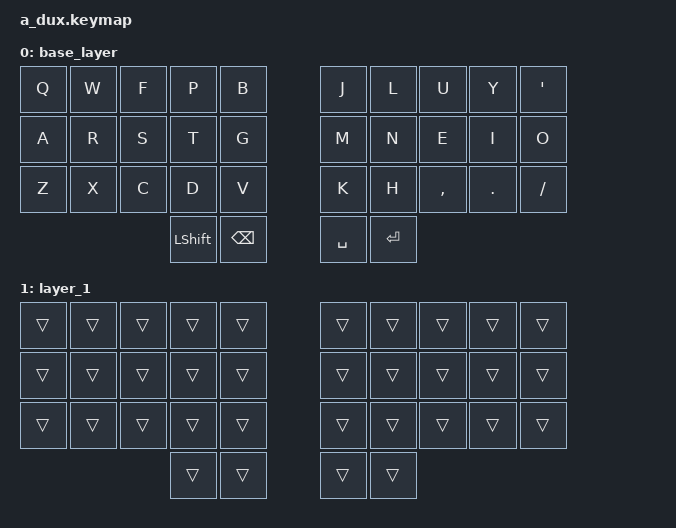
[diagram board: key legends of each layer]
/*
 * Copyright (c) 2021 The ZMK Contributors
 *
 * SPDX-License-Identifier: MIT
 */

#include <behaviors.dtsi>
#include <dt-bindings/zmk/keys.h>

/ {
    combos {
        compatible = "zmk,combos";

        combo_ae {
            bindings = <&trans>;
            key-positions = <10 17>;
            layers = <0>;
        };

        combo_ue {
            bindings = <&trans>;
            key-positions = <17 7>;
        };

        new_combo {
            bindings = <&trans>;
            key-positions = <17 19>;
        };
    };

    keymap {
        compatible = "zmk,keymap";

        // This is a sample keymap intended to be replaced with your own

        base_layer {
            bindings = <
&kp Q  &kp W  &kp F           &kp P          &kp B        &kp J      &kp L      &kp U    &kp Y    &kp SQT
&kp A  &kp R  &kp S           &kp T          &kp G        &kp M      &kp N      &kp E    &kp I      &kp O
&kp Z  &kp X  &kp C           &kp D          &kp V        &kp K      &kp H  &kp COMMA  &kp DOT  &kp SLASH
                     &kp LEFT_SHIFT  &kp BACKSPACE    &kp SPACE  &kp ENTER
            >;
        };

        layer_1 {
            bindings = <
&trans  &trans  &trans  &trans  &trans    &trans  &trans  &trans  &trans  &trans
&trans  &trans  &trans  &trans  &trans    &trans  &trans  &trans  &trans  &trans
&trans  &trans  &trans  &trans  &trans    &trans  &trans  &trans  &trans  &trans
                        &trans  &trans    &trans  &trans
            >;
        };
    };
};
